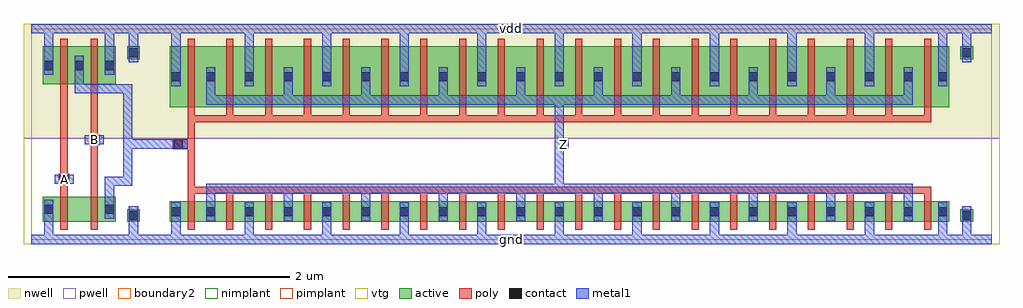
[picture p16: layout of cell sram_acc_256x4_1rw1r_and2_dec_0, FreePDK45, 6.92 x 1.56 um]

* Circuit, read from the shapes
.subckt sram_acc_256x4_1rw1r_and2_dec_0 A B Z gnd vdd
M1 sram_acc_256x4_1rw1r_pnand2_0/sram_acc_256x4_1rw1r_nmos_m1_w0_180_sm1_dactive_2/D A gnd gnd nfet w=0.18u l=0.05u
M2 sram_acc_256x4_1rw1r_pinv_0_1/A B sram_acc_256x4_1rw1r_pnand2_0/sram_acc_256x4_1rw1r_nmos_m1_w0_180_sm1_dactive_2/D gnd nfet w=0.18u l=0.05u
M3 Z sram_acc_256x4_1rw1r_pinv_0_1/A gnd gnd nfet w=0.145u l=0.05u m=20
M4 sram_acc_256x4_1rw1r_pinv_0_1/A A vdd vdd pfet w=0.27u l=0.05u
M5 vdd B sram_acc_256x4_1rw1r_pinv_0_1/A vdd pfet w=0.27u l=0.05u
M6 Z sram_acc_256x4_1rw1r_pinv_0_1/A vdd vdd pfet w=0.4325u l=0.05u m=20
.ends

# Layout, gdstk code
import gdstk
lib = gdstk.Library(unit=1e-6, precision=5e-10)
def R(c, l, rs):  # rectangles x0, y0, x1, y1
    for r in rs: c.add(gdstk.rectangle(r[:2], r[2:], *l))
def A(c, l, x, y, w, h, nx, ny, dx, dy):  # array of equal rectangles
    R(c, l, [(x+i*dx, y+j*dy, x+i*dx+w, y+j*dy+h) for i in range(nx) for j in range(ny)])
active = (1, 0)
pwell = (2, 0)
nwell = (3, 0)
nimplant = (4, 0)
pimplant = (5, 0)
vtg = (6, 0)
poly = (9, 0)
contact = (10, 0)
metal1 = (11, 0)
boundary2 = (239, 0)

sram_acc_256x4_1rw1r_con = lib.new_cell('sram_acc_256x4_1rw1r_contact_11')
R(sram_acc_256x4_1rw1r_con, active, [(0,0.0225,0.09,0.1125)])
R(sram_acc_256x4_1rw1r_con, nwell, [(-0.055,-0.0325,0.145,0.1675)])
R(sram_acc_256x4_1rw1r_con, pimplant, [(0,0.0225,0.09,0.1125)])
R(sram_acc_256x4_1rw1r_con, contact, [(0.0125,0.035,0.0775,0.1)])
R(sram_acc_256x4_1rw1r_con, metal1, [(0.0125,0,0.0775,0.135)])
R(sram_acc_256x4_1rw1r_con, boundary2, [(-0.055,-0.0325,0.145,0.1675)])

sram_acc_256x4_1rw1r_pmo = lib.new_cell('sram_acc_256x4_1rw1r_pmos_m1_w0_270_sm1_dm1')
R(sram_acc_256x4_1rw1r_pmo, active, [(0,0,0.305,0.27)])
R(sram_acc_256x4_1rw1r_pmo, nwell, [(-0.08,-0.08,0.385,0.35)])
R(sram_acc_256x4_1rw1r_pmo, pimplant, [(0,0,0.305,0.27)])
R(sram_acc_256x4_1rw1r_pmo, vtg, [(-0.08,-0.08,0.385,0.35)])
R(sram_acc_256x4_1rw1r_pmo, poly, [(0.1275,-0.055,0.1775,0.325), (0.1275,-0.055,0.1775,0.325)])
R(sram_acc_256x4_1rw1r_pmo, metal1, [(0.0125,0.0675,0.0775,0.2025), (0.2275,0.0675,0.2925,0.2025)])
R(sram_acc_256x4_1rw1r_pmo, boundary2, [(-0.08,-0.08,0.385,0.35)])
sram_acc_256x4_1rw1r_pmo.add(gdstk.Reference(sram_acc_256x4_1rw1r_con, (0,0.0675)))
sram_acc_256x4_1rw1r_pmo.add(gdstk.Reference(sram_acc_256x4_1rw1r_con, (0.215,0.0675)))
sram_acc_256x4_1rw1r_pmo.add(gdstk.Label('G', (0.1525,0.135), layer=9, texttype=0))
sram_acc_256x4_1rw1r_pmo.add(gdstk.Label('S', (0.045,0.135), layer=11, texttype=0))
sram_acc_256x4_1rw1r_pmo.add(gdstk.Label('D', (0.26,0.135), layer=11, texttype=0))

c_sram_acc_256x4_1rw1r_con = lib.new_cell('sram_acc_256x4_1rw1r_contact_10')
R(c_sram_acc_256x4_1rw1r_con, active, [(0,0.0225,0.09,0.1125)])
R(c_sram_acc_256x4_1rw1r_con, pwell, [(-0.055,-0.0325,0.145,0.1675)])
R(c_sram_acc_256x4_1rw1r_con, nimplant, [(0,0.0225,0.09,0.1125)])
R(c_sram_acc_256x4_1rw1r_con, contact, [(0.0125,0.035,0.0775,0.1)])
R(c_sram_acc_256x4_1rw1r_con, metal1, [(0.0125,0,0.0775,0.135)])
R(c_sram_acc_256x4_1rw1r_con, boundary2, [(-0.055,-0.0325,0.145,0.1675)])

sram_acc_256x4_1rw1r_nmo = lib.new_cell('sram_acc_256x4_1rw1r_nmos_m1_w0_180_sm1_dactive')
R(sram_acc_256x4_1rw1r_nmo, active, [(0,0,0.305,0.18), (0.215,0.045,0.305,0.135)])
R(sram_acc_256x4_1rw1r_nmo, pwell, [(-0.08,-0.08,0.385,0.26)])
R(sram_acc_256x4_1rw1r_nmo, nimplant, [(0,0,0.305,0.18)])
R(sram_acc_256x4_1rw1r_nmo, vtg, [(-0.08,-0.08,0.385,0.26)])
R(sram_acc_256x4_1rw1r_nmo, poly, [(0.1275,-0.055,0.1775,0.235), (0.1275,-0.055,0.1775,0.235)])
R(sram_acc_256x4_1rw1r_nmo, metal1, [(0.0125,0.0225,0.0775,0.1575)])
R(sram_acc_256x4_1rw1r_nmo, boundary2, [(-0.08,-0.08,0.385,0.26)])
sram_acc_256x4_1rw1r_nmo.add(gdstk.Reference(c_sram_acc_256x4_1rw1r_con, (0,0.0225)))
sram_acc_256x4_1rw1r_nmo.add(gdstk.Label('G', (0.1525,0.09), layer=9, texttype=0))
sram_acc_256x4_1rw1r_nmo.add(gdstk.Label('S', (0.045,0.09), layer=11, texttype=0))
sram_acc_256x4_1rw1r_nmo.add(gdstk.Label('D', (0.26,0.09), layer=1, texttype=0))

c_sram_acc_256x4_1rw1r_nmo = lib.new_cell('sram_acc_256x4_1rw1r_nmos_m1_w0_180_sactive_dm1')
R(c_sram_acc_256x4_1rw1r_nmo, active, [(0,0,0.305,0.18), (0,0.045,0.09,0.135)])
R(c_sram_acc_256x4_1rw1r_nmo, pwell, [(-0.08,-0.08,0.385,0.26)])
R(c_sram_acc_256x4_1rw1r_nmo, nimplant, [(0,0,0.305,0.18)])
R(c_sram_acc_256x4_1rw1r_nmo, vtg, [(-0.08,-0.08,0.385,0.26)])
R(c_sram_acc_256x4_1rw1r_nmo, poly, [(0.1275,-0.055,0.1775,0.235), (0.1275,-0.055,0.1775,0.235)])
R(c_sram_acc_256x4_1rw1r_nmo, metal1, [(0.2275,0.0225,0.2925,0.1575)])
R(c_sram_acc_256x4_1rw1r_nmo, boundary2, [(-0.08,-0.08,0.385,0.26)])
c_sram_acc_256x4_1rw1r_nmo.add(gdstk.Reference(c_sram_acc_256x4_1rw1r_con, (0.215,0.0225)))
c_sram_acc_256x4_1rw1r_nmo.add(gdstk.Label('G', (0.1525,0.09), layer=9, texttype=0))
c_sram_acc_256x4_1rw1r_nmo.add(gdstk.Label('S', (0.045,0.09), layer=1, texttype=0))
c_sram_acc_256x4_1rw1r_nmo.add(gdstk.Label('D', (0.26,0.09), layer=11, texttype=0))

c_sram_acc_256x4_1rw1r_con_ = lib.new_cell('sram_acc_256x4_1rw1r_contact_12')
R(c_sram_acc_256x4_1rw1r_con_, active, [(0,0.0225,0.09,0.1125)])
R(c_sram_acc_256x4_1rw1r_con_, nwell, [(-0.055,-0.0325,0.145,0.1675)])
R(c_sram_acc_256x4_1rw1r_con_, nimplant, [(0,0.0225,0.09,0.1125)])
R(c_sram_acc_256x4_1rw1r_con_, contact, [(0.0125,0.035,0.0775,0.1)])
R(c_sram_acc_256x4_1rw1r_con_, metal1, [(0.0125,0,0.0775,0.135)])
R(c_sram_acc_256x4_1rw1r_con_, boundary2, [(-0.055,-0.0325,0.145,0.1675)])

c_sram_acc_256x4_1rw1r_con__ = lib.new_cell('sram_acc_256x4_1rw1r_contact_13')
R(c_sram_acc_256x4_1rw1r_con__, active, [(0,0.0225,0.09,0.1125)])
R(c_sram_acc_256x4_1rw1r_con__, pwell, [(-0.055,-0.0325,0.145,0.1675)])
R(c_sram_acc_256x4_1rw1r_con__, pimplant, [(0,0.0225,0.09,0.1125)])
R(c_sram_acc_256x4_1rw1r_con__, contact, [(0.0125,0.035,0.0775,0.1)])
R(c_sram_acc_256x4_1rw1r_con__, metal1, [(0.0125,0,0.0775,0.135)])
R(c_sram_acc_256x4_1rw1r_con__, boundary2, [(-0.055,-0.0325,0.145,0.1675)])

c_sram_acc_256x4_1rw1r_con___ = lib.new_cell('sram_acc_256x4_1rw1r_contact_14')
R(c_sram_acc_256x4_1rw1r_con___, poly, [(0.03,0,0.105,0.075)])
R(c_sram_acc_256x4_1rw1r_con___, contact, [(0.035,0.005,0.1,0.07)])
R(c_sram_acc_256x4_1rw1r_con___, metal1, [(0,0.005,0.135,0.07)])
R(c_sram_acc_256x4_1rw1r_con___, boundary2, [(0,0,0.135,0.075)])

sram_acc_256x4_1rw1r_pna = lib.new_cell('sram_acc_256x4_1rw1r_pnand2')
R(sram_acc_256x4_1rw1r_pna, pwell, [(-0.055,-0.0325,0.9575,0.7175)])
R(sram_acc_256x4_1rw1r_pna, nwell, [(-0.055,0.7175,0.9575,1.53)])
R(sram_acc_256x4_1rw1r_pna, vtg, [(-0.055,-0.0325,0.9575,0.7175), (-0.055,0.7175,0.9575,1.53)])
R(sram_acc_256x4_1rw1r_pna, poly, [(0.2075,0.36,0.2575,1.045), (0.4225,0.36,0.4725,1.045), (0.2075,0.39,0.2325,0.465), (0.4225,0.67,0.4475,0.745)])
R(sram_acc_256x4_1rw1r_pna, metal1, [(0,-0.0325,0.9025,0.0325), (0.0925,-0.0325,0.1575,0.1475), (0.6925,0,0.7575,0.17), (0.5225,0.2825,0.5875,0.4125), (0.5225,0.38,0.5875,0.445), (0.555,0.38,0.685,0.445), (0.6525,0.38,0.7175,0.445), (0.165,0.395,0.3,0.46), (0.6525,0.4125,0.7175,1.07), (0.38,0.675,0.515,0.74), (0.3075,1.0375,0.3725,1.1025), (0.34,1.0375,0.685,1.1025), (0.6525,1.0375,0.7175,1.1025), (0.3075,1.07,0.3725,1.1675), (0.0925,1.1675,0.1575,1.5275), (0.5225,1.1675,0.5875,1.5275), (0.6925,1.325,0.7575,1.495), (0,1.4625,0.9025,1.5275)])
R(sram_acc_256x4_1rw1r_pna, boundary2, [(0,0,0.9025,1.495), (0,0,0.9025,1.495)])
sram_acc_256x4_1rw1r_pna.add(gdstk.Reference(sram_acc_256x4_1rw1r_pmo, (0.08,1.1)))
sram_acc_256x4_1rw1r_pna.add(gdstk.Reference(sram_acc_256x4_1rw1r_pmo, (0.295,1.1)))
sram_acc_256x4_1rw1r_pna.add(gdstk.Reference(sram_acc_256x4_1rw1r_nmo, (0.08,0.125)))
sram_acc_256x4_1rw1r_pna.add(gdstk.Reference(c_sram_acc_256x4_1rw1r_nmo, (0.295,0.125)))
sram_acc_256x4_1rw1r_pna.add(gdstk.Reference(c_sram_acc_256x4_1rw1r_con_, (0.68,1.2575)))
sram_acc_256x4_1rw1r_pna.add(gdstk.Reference(c_sram_acc_256x4_1rw1r_con__, (0.68,0.1025)))
sram_acc_256x4_1rw1r_pna.add(gdstk.Reference(c_sram_acc_256x4_1rw1r_con___, (0.165,0.39)))
sram_acc_256x4_1rw1r_pna.add(gdstk.Reference(c_sram_acc_256x4_1rw1r_con___, (0.38,0.67)))
sram_acc_256x4_1rw1r_pna.add(gdstk.Label('Z', (0.685,1.07), layer=11, texttype=0))
sram_acc_256x4_1rw1r_pna.add(gdstk.Label('gnd', (0.451,0), layer=11, texttype=0))
sram_acc_256x4_1rw1r_pna.add(gdstk.Label('vdd', (0.451,1.495), layer=11, texttype=0))
sram_acc_256x4_1rw1r_pna.add(gdstk.Label('A', (0.2325,0.4275), layer=11, texttype=0))
sram_acc_256x4_1rw1r_pna.add(gdstk.Label('B', (0.4475,0.7075), layer=11, texttype=0))

c_sram_acc_256x4_1rw1r_pmo = lib.new_cell('sram_acc_256x4_1rw1r_pmos_m20_w0_432_sm1_dm1_da_p')
R(c_sram_acc_256x4_1rw1r_pmo, active, [(0,0,5.53,0.4325)])
R(c_sram_acc_256x4_1rw1r_pmo, nwell, [(-0.08,-0.08,5.61,0.5125)])
R(c_sram_acc_256x4_1rw1r_pmo, pimplant, [(0,0,5.53,0.4325)])
R(c_sram_acc_256x4_1rw1r_pmo, vtg, [(-0.08,-0.08,5.61,0.5125)])
A(c_sram_acc_256x4_1rw1r_pmo, poly, 0.1275, -0.055, 0.05, 0.5425, 20, 1, 0.275, 0)
R(c_sram_acc_256x4_1rw1r_pmo, poly, [(0.1275,-0.105,5.4025,-0.055)])
A(c_sram_acc_256x4_1rw1r_pmo, metal1, 0.2575, 0.05, 0.065, 0.165, 10, 1, 0.55, 0)
A(c_sram_acc_256x4_1rw1r_pmo, metal1, 0.5325, 0.15, 0.065, 0.135, 9, 1, 0.55, 0)
R(c_sram_acc_256x4_1rw1r_pmo, metal1, [(0.2575,0.02,5.2725,0.085), (0.0125,0.15,0.0775,0.285), (5.4525,0.15,5.5175,0.285)])
R(c_sram_acc_256x4_1rw1r_pmo, boundary2, [(-0.08,-0.105,5.61,0.5125)])
c_sram_acc_256x4_1rw1r_pmo.add(gdstk.Reference(sram_acc_256x4_1rw1r_con, (0,0.15)))
c_sram_acc_256x4_1rw1r_pmo.add(gdstk.Reference(sram_acc_256x4_1rw1r_con, (0.245,0.15)))
c_sram_acc_256x4_1rw1r_pmo.add(gdstk.Reference(sram_acc_256x4_1rw1r_con, (0.52,0.15)))
c_sram_acc_256x4_1rw1r_pmo.add(gdstk.Reference(sram_acc_256x4_1rw1r_con, (0.795,0.15)))
c_sram_acc_256x4_1rw1r_pmo.add(gdstk.Reference(sram_acc_256x4_1rw1r_con, (1.07,0.15)))
c_sram_acc_256x4_1rw1r_pmo.add(gdstk.Reference(sram_acc_256x4_1rw1r_con, (1.345,0.15)))
c_sram_acc_256x4_1rw1r_pmo.add(gdstk.Reference(sram_acc_256x4_1rw1r_con, (1.62,0.15)))
c_sram_acc_256x4_1rw1r_pmo.add(gdstk.Reference(sram_acc_256x4_1rw1r_con, (1.895,0.15)))
c_sram_acc_256x4_1rw1r_pmo.add(gdstk.Reference(sram_acc_256x4_1rw1r_con, (2.17,0.15)))
c_sram_acc_256x4_1rw1r_pmo.add(gdstk.Reference(sram_acc_256x4_1rw1r_con, (2.445,0.15)))
c_sram_acc_256x4_1rw1r_pmo.add(gdstk.Reference(sram_acc_256x4_1rw1r_con, (2.72,0.15)))
c_sram_acc_256x4_1rw1r_pmo.add(gdstk.Reference(sram_acc_256x4_1rw1r_con, (2.995,0.15)))
c_sram_acc_256x4_1rw1r_pmo.add(gdstk.Reference(sram_acc_256x4_1rw1r_con, (3.27,0.15)))
c_sram_acc_256x4_1rw1r_pmo.add(gdstk.Reference(sram_acc_256x4_1rw1r_con, (3.545,0.15)))
c_sram_acc_256x4_1rw1r_pmo.add(gdstk.Reference(sram_acc_256x4_1rw1r_con, (3.82,0.15)))
c_sram_acc_256x4_1rw1r_pmo.add(gdstk.Reference(sram_acc_256x4_1rw1r_con, (4.095,0.15)))
c_sram_acc_256x4_1rw1r_pmo.add(gdstk.Reference(sram_acc_256x4_1rw1r_con, (4.37,0.15)))
c_sram_acc_256x4_1rw1r_pmo.add(gdstk.Reference(sram_acc_256x4_1rw1r_con, (4.645,0.15)))
c_sram_acc_256x4_1rw1r_pmo.add(gdstk.Reference(sram_acc_256x4_1rw1r_con, (4.92,0.15)))
c_sram_acc_256x4_1rw1r_pmo.add(gdstk.Reference(sram_acc_256x4_1rw1r_con, (5.195,0.15)))
c_sram_acc_256x4_1rw1r_pmo.add(gdstk.Reference(sram_acc_256x4_1rw1r_con, (5.44,0.15)))
c_sram_acc_256x4_1rw1r_pmo.add(gdstk.Label('G', (2.765,-0.08), layer=9, texttype=0))
c_sram_acc_256x4_1rw1r_pmo.add(gdstk.Label('S', (0.565,0.2175), layer=11, texttype=0))
c_sram_acc_256x4_1rw1r_pmo.add(gdstk.Label('S', (4.415,0.2175), layer=11, texttype=0))
c_sram_acc_256x4_1rw1r_pmo.add(gdstk.Label('S', (2.215,0.2175), layer=11, texttype=0))
c_sram_acc_256x4_1rw1r_pmo.add(gdstk.Label('S', (1.115,0.2175), layer=11, texttype=0))
c_sram_acc_256x4_1rw1r_pmo.add(gdstk.Label('S', (1.665,0.2175), layer=11, texttype=0))
c_sram_acc_256x4_1rw1r_pmo.add(gdstk.Label('S', (5.485,0.2175), layer=11, texttype=0))
c_sram_acc_256x4_1rw1r_pmo.add(gdstk.Label('S', (3.315,0.2175), layer=11, texttype=0))
c_sram_acc_256x4_1rw1r_pmo.add(gdstk.Label('S', (2.765,0.2175), layer=11, texttype=0))
c_sram_acc_256x4_1rw1r_pmo.add(gdstk.Label('S', (0.045,0.2175), layer=11, texttype=0))
c_sram_acc_256x4_1rw1r_pmo.add(gdstk.Label('S', (3.865,0.2175), layer=11, texttype=0))
c_sram_acc_256x4_1rw1r_pmo.add(gdstk.Label('S', (4.965,0.2175), layer=11, texttype=0))
c_sram_acc_256x4_1rw1r_pmo.add(gdstk.Label('D', (2.765,0.0525), layer=11, texttype=0))

c_sram_acc_256x4_1rw1r_nmo_ = lib.new_cell('sram_acc_256x4_1rw1r_nmos_m20_w0_145_sm1_dm1_da_p')
R(c_sram_acc_256x4_1rw1r_nmo_, active, [(0,0,5.53,0.145)])
R(c_sram_acc_256x4_1rw1r_nmo_, pwell, [(-0.08,-0.08,5.61,0.225)])
R(c_sram_acc_256x4_1rw1r_nmo_, nimplant, [(0,0,5.53,0.145)])
R(c_sram_acc_256x4_1rw1r_nmo_, vtg, [(-0.08,-0.08,5.61,0.225)])
A(c_sram_acc_256x4_1rw1r_nmo_, poly, 0.1275, -0.055, 0.05, 0.255, 20, 1, 0.275, 0)
R(c_sram_acc_256x4_1rw1r_nmo_, poly, [(0.1275,0.2,5.4025,0.25)])
A(c_sram_acc_256x4_1rw1r_nmo_, metal1, 0.5325, 0.005, 0.065, 0.135, 9, 1, 0.55, 0)
A(c_sram_acc_256x4_1rw1r_nmo_, metal1, 0.2575, 0.0725, 0.065, 0.165, 10, 1, 0.55, 0)
R(c_sram_acc_256x4_1rw1r_nmo_, metal1, [(0.0125,0.005,0.0775,0.14), (5.4525,0.005,5.5175,0.14), (0.2575,0.205,5.2725,0.27)])
R(c_sram_acc_256x4_1rw1r_nmo_, boundary2, [(-0.08,-0.08,5.61,0.27)])
c_sram_acc_256x4_1rw1r_nmo_.add(gdstk.Reference(c_sram_acc_256x4_1rw1r_con, (0,0.005)))
c_sram_acc_256x4_1rw1r_nmo_.add(gdstk.Reference(c_sram_acc_256x4_1rw1r_con, (0.245,0.005)))
c_sram_acc_256x4_1rw1r_nmo_.add(gdstk.Reference(c_sram_acc_256x4_1rw1r_con, (0.52,0.005)))
c_sram_acc_256x4_1rw1r_nmo_.add(gdstk.Reference(c_sram_acc_256x4_1rw1r_con, (0.795,0.005)))
c_sram_acc_256x4_1rw1r_nmo_.add(gdstk.Reference(c_sram_acc_256x4_1rw1r_con, (1.07,0.005)))
c_sram_acc_256x4_1rw1r_nmo_.add(gdstk.Reference(c_sram_acc_256x4_1rw1r_con, (1.345,0.005)))
c_sram_acc_256x4_1rw1r_nmo_.add(gdstk.Reference(c_sram_acc_256x4_1rw1r_con, (1.62,0.005)))
c_sram_acc_256x4_1rw1r_nmo_.add(gdstk.Reference(c_sram_acc_256x4_1rw1r_con, (1.895,0.005)))
c_sram_acc_256x4_1rw1r_nmo_.add(gdstk.Reference(c_sram_acc_256x4_1rw1r_con, (2.17,0.005)))
c_sram_acc_256x4_1rw1r_nmo_.add(gdstk.Reference(c_sram_acc_256x4_1rw1r_con, (2.445,0.005)))
c_sram_acc_256x4_1rw1r_nmo_.add(gdstk.Reference(c_sram_acc_256x4_1rw1r_con, (2.72,0.005)))
c_sram_acc_256x4_1rw1r_nmo_.add(gdstk.Reference(c_sram_acc_256x4_1rw1r_con, (2.995,0.005)))
c_sram_acc_256x4_1rw1r_nmo_.add(gdstk.Reference(c_sram_acc_256x4_1rw1r_con, (3.27,0.005)))
c_sram_acc_256x4_1rw1r_nmo_.add(gdstk.Reference(c_sram_acc_256x4_1rw1r_con, (3.545,0.005)))
c_sram_acc_256x4_1rw1r_nmo_.add(gdstk.Reference(c_sram_acc_256x4_1rw1r_con, (3.82,0.005)))
c_sram_acc_256x4_1rw1r_nmo_.add(gdstk.Reference(c_sram_acc_256x4_1rw1r_con, (4.095,0.005)))
c_sram_acc_256x4_1rw1r_nmo_.add(gdstk.Reference(c_sram_acc_256x4_1rw1r_con, (4.37,0.005)))
c_sram_acc_256x4_1rw1r_nmo_.add(gdstk.Reference(c_sram_acc_256x4_1rw1r_con, (4.645,0.005)))
c_sram_acc_256x4_1rw1r_nmo_.add(gdstk.Reference(c_sram_acc_256x4_1rw1r_con, (4.92,0.005)))
c_sram_acc_256x4_1rw1r_nmo_.add(gdstk.Reference(c_sram_acc_256x4_1rw1r_con, (5.195,0.005)))
c_sram_acc_256x4_1rw1r_nmo_.add(gdstk.Reference(c_sram_acc_256x4_1rw1r_con, (5.44,0.005)))
c_sram_acc_256x4_1rw1r_nmo_.add(gdstk.Label('G', (2.765,0.225), layer=9, texttype=0))
c_sram_acc_256x4_1rw1r_nmo_.add(gdstk.Label('S', (2.765,0.0725), layer=11, texttype=0))
c_sram_acc_256x4_1rw1r_nmo_.add(gdstk.Label('S', (0.565,0.0725), layer=11, texttype=0))
c_sram_acc_256x4_1rw1r_nmo_.add(gdstk.Label('S', (0.045,0.0725), layer=11, texttype=0))
c_sram_acc_256x4_1rw1r_nmo_.add(gdstk.Label('S', (5.485,0.0725), layer=11, texttype=0))
c_sram_acc_256x4_1rw1r_nmo_.add(gdstk.Label('S', (1.115,0.0725), layer=11, texttype=0))
c_sram_acc_256x4_1rw1r_nmo_.add(gdstk.Label('S', (3.865,0.0725), layer=11, texttype=0))
c_sram_acc_256x4_1rw1r_nmo_.add(gdstk.Label('S', (3.315,0.0725), layer=11, texttype=0))
c_sram_acc_256x4_1rw1r_nmo_.add(gdstk.Label('S', (1.665,0.0725), layer=11, texttype=0))
c_sram_acc_256x4_1rw1r_nmo_.add(gdstk.Label('S', (2.215,0.0725), layer=11, texttype=0))
c_sram_acc_256x4_1rw1r_nmo_.add(gdstk.Label('S', (4.415,0.0725), layer=11, texttype=0))
c_sram_acc_256x4_1rw1r_nmo_.add(gdstk.Label('S', (4.965,0.0725), layer=11, texttype=0))
c_sram_acc_256x4_1rw1r_nmo_.add(gdstk.Label('D', (2.765,0.2375), layer=11, texttype=0))

sram_acc_256x4_1rw1r_pin = lib.new_cell('sram_acc_256x4_1rw1r_pinv_0')
R(sram_acc_256x4_1rw1r_pin, pwell, [(-0.055,-0.0325,5.9675,0.7175)])
R(sram_acc_256x4_1rw1r_pin, nwell, [(-0.055,0.7175,5.9675,1.53)])
R(sram_acc_256x4_1rw1r_pin, vtg, [(-0.055,-0.0325,5.9675,0.7175), (-0.055,0.7175,5.9675,1.53)])
R(sram_acc_256x4_1rw1r_pin, poly, [(0.2075,0.375,0.2575,0.8325), (0.14,0.64,0.2075,0.715)])
A(sram_acc_256x4_1rw1r_pin, metal1, 0.6125, -0.0325, 0.065, 0.1625, 9, 1, 0.55, 0)
A(sram_acc_256x4_1rw1r_pin, metal1, 0.6125, 1.0875, 0.065, 0.44, 9, 1, 0.55, 0)
R(sram_acc_256x4_1rw1r_pin, metal1, [(0,-0.0325,5.9125,0.0325), (0.0925,-0.0325,0.1575,0.13), (5.5325,-0.0325,5.5975,0.13), (5.7025,0,5.7675,0.17), (2.8125,0.33,2.8775,1.0225), (0.0725,0.645,0.2075,0.71), (2.845,0.645,2.91,0.71), (0.0925,1.0875,0.1575,1.5275), (5.5325,1.0875,5.5975,1.5275), (5.7025,1.325,5.7675,1.495), (0,1.4625,5.9125,1.5275)])
R(sram_acc_256x4_1rw1r_pin, boundary2, [(0,0,5.9125,1.495), (0,0,5.9125,1.495)])
sram_acc_256x4_1rw1r_pin.add(gdstk.Reference(c_sram_acc_256x4_1rw1r_pmo, (0.08,0.9375)))
sram_acc_256x4_1rw1r_pin.add(gdstk.Reference(c_sram_acc_256x4_1rw1r_nmo_, (0.08,0.125)))
sram_acc_256x4_1rw1r_pin.add(gdstk.Reference(c_sram_acc_256x4_1rw1r_con_, (5.69,1.2575)))
sram_acc_256x4_1rw1r_pin.add(gdstk.Reference(c_sram_acc_256x4_1rw1r_con__, (5.69,0.1025)))
sram_acc_256x4_1rw1r_pin.add(gdstk.Reference(c_sram_acc_256x4_1rw1r_con___, (0.0725,0.64)))
sram_acc_256x4_1rw1r_pin.add(gdstk.Label('A', (0.14,0.6775), layer=11, texttype=0))
sram_acc_256x4_1rw1r_pin.add(gdstk.Label('Z', (2.8775,0.6775), layer=11, texttype=0))
sram_acc_256x4_1rw1r_pin.add(gdstk.Label('gnd', (2.9565,0), layer=11, texttype=0))
sram_acc_256x4_1rw1r_pin.add(gdstk.Label('vdd', (2.9565,1.495), layer=11, texttype=0))

sram_acc_256x4_1rw1r_and = lib.new_cell('sram_acc_256x4_1rw1r_and2_dec_0')
R(sram_acc_256x4_1rw1r_and, metal1, [(0,-0.0325,6.815,0.0325), (0.165,0.395,0.3,0.46), (0.6525,0.645,0.7175,0.71), (0.685,0.645,1.0425,0.71), (3.7475,0.645,3.8125,0.71), (0.38,0.675,0.515,0.74), (0.6525,0.6775,0.7175,1.07), (0,1.4625,6.815,1.5275)])
R(sram_acc_256x4_1rw1r_and, boundary2, [(0,0,6.815,1.495)])
sram_acc_256x4_1rw1r_and.add(gdstk.Reference(sram_acc_256x4_1rw1r_pna, (0,0)))
sram_acc_256x4_1rw1r_and.add(gdstk.Reference(sram_acc_256x4_1rw1r_pin, (0.9025,0)))
sram_acc_256x4_1rw1r_and.add(gdstk.Label('Z', (3.78,0.6775), layer=11, texttype=0))
sram_acc_256x4_1rw1r_and.add(gdstk.Label('A', (0.2325,0.4275), layer=11, texttype=0))
sram_acc_256x4_1rw1r_and.add(gdstk.Label('B', (0.4475,0.7075), layer=11, texttype=0))
sram_acc_256x4_1rw1r_and.add(gdstk.Label('gnd', (3.4075,0), layer=11, texttype=0))
sram_acc_256x4_1rw1r_and.add(gdstk.Label('vdd', (3.4075,1.495), layer=11, texttype=0))

lib.write_gds('sram_acc_256x4_1rw1r_and2_dec_0.gds')
